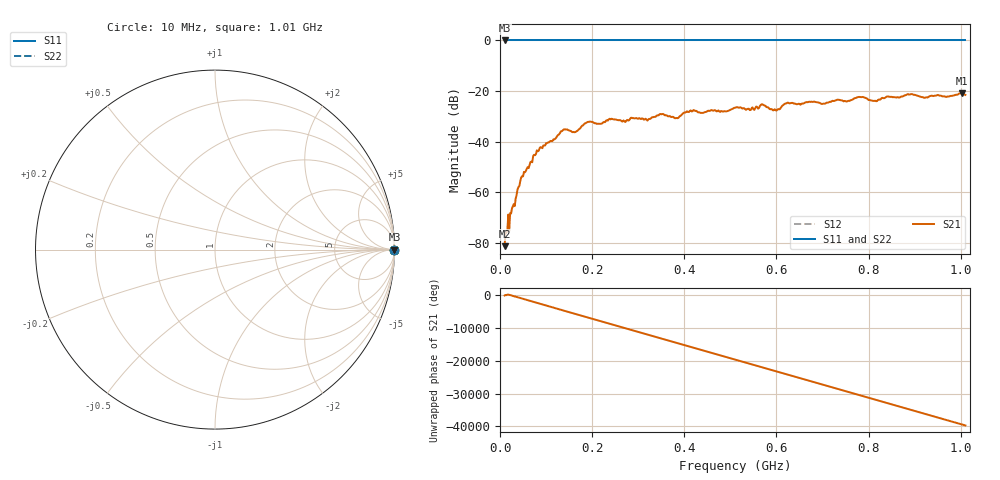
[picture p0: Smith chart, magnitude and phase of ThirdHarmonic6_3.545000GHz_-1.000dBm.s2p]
! 8/17/2025 11:41:15 AM
! C:\ANRITSUVNA\TEMP\TEMP.S2P
! CHANNEL.1
! TR.MEASUREMENT
! RAW.DATA
! RF.CORRECTION.OFF
! AVERAGING.OFF
! IF.BANDWIDTH: 5KHZ
! SWEEPTYPE:  FREQ.SWEEP(Linear)
! Reference Plane Port Info
! PORT:  PORT1  PORT2
! DISTANCE:  0  m  0  m
! TIME:  0  s  0  s
! PHASE.OFFSET:  0  deg.  0  deg.
! LOSS:  0  dB  0  dB
! REF.LOSS:  0  dB  0  dB
! REF.FREQ:  0  Hz  0  Hz
! Power Info
! POWER:  -20  dBm  -20  dBm
! EFF.POWER:  -20  dBm  -20  dBm
! SOURCE.ATTEN:  0  dB  0  dB
! TEST.ATTEN:  0  dB  0  dB
# GHZ S RI R 50.0
! FREQ.GHZ  S11RE  S11IM  S21RE  S21IM  S12RE  S12IM  S22RE  S22IM
!; PortSelection: Port_12
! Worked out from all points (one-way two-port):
!   501 points, 10 MHz to 1.01 GHz, reference 50 ohm
!   highest |S21| = -20.85 dB at 1.002 GHz (marker M1); lowest = -81.2 dB at 10 MHz (marker M2)
!   lowest |S11| = 0.0 dB at 10 MHz (marker M3)
!   |S11| at or under -10 dB: nowhere
!   |S22| runs from 0.0 to 0.0 dB; largest |S21 - S12| = 1.1
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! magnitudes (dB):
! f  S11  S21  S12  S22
! 10 MHz  0.0  -81.2  0.0  0.0
! 44 MHz  0.0  -55.5  0.0  0.0
! 76 MHz  0.0  -45.3  0.0  0.0
! 136 MHz  0.0  -35.5  0.0  0.0
! 162 MHz  0.0  -36.2  0.0  0.0
! 178 MHz  0.0  -33.7  0.0  0.0
! 194 MHz  0.0  -32.1  0.0  0.0
! 322 MHz  0.0  -31.1  0.0  0.0
! 344 MHz  0.0  -29.6  0.0  0.0
! 384 MHz  0.0  -30.6  0.0  0.0
! 416 MHz  0.0  -28.0  0.0  0.0
! 510 MHz  0.0  -26.6  0.0  0.0
! 570 MHz  0.0  -25.3  0.0  0.0
! 596 MHz  0.0  -27.1  0.0  0.0
! 622 MHz  0.0  -24.8  0.0  0.0
! 678 MHz  0.0  -24.3  0.0  0.0
! 702 MHz  0.0  -24.9  0.0  0.0
! 782 MHz  0.0  -22.3  0.0  0.0
! 814 MHz  0.0  -23.8  0.0  0.0
! 844 MHz  0.0  -22.2  0.0  0.0
! 1.002 GHz  0.0  -20.8  0.0  0.0
! 1.01 GHz  0.0  -21.5  0.0  0.0
